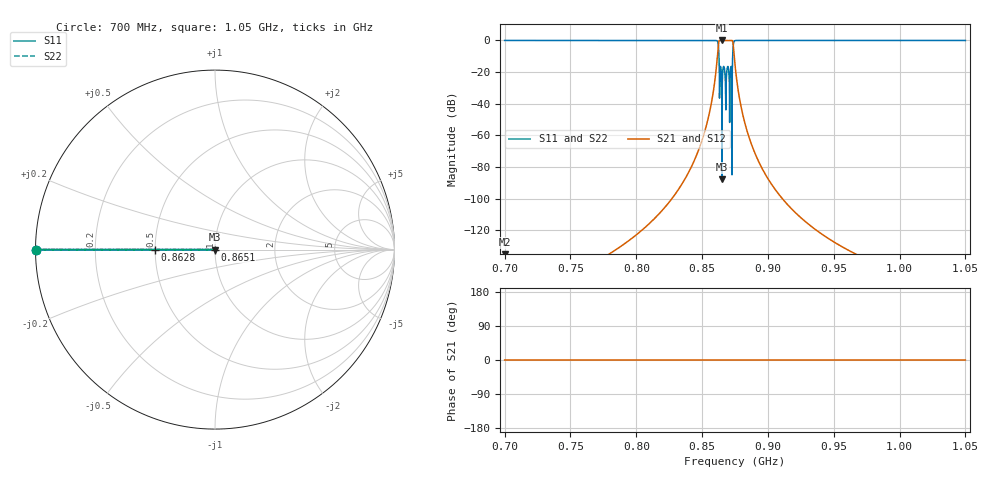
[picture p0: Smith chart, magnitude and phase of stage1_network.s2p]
! Created with skrf 1.12.0 (http://scikit-rf.org).
# Hz S RI R 50.0
!freq ReS11 ImS11 ReS21 ImS21 ReS12 ImS12 ReS22 ImS22
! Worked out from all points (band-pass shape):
!   4000 points, 700 MHz to 1.05 GHz, reference 50 ohm
!   highest |S21| = 0.00 dB at 865.1 MHz (marker M1); lowest = -165.3 dB at 700 MHz (marker M2)
!   |S21| within 3 dB of the highest: 862.3 MHz to 873.7 MHz (11.34 MHz wide, 1.31 % of centre)
!   lowest |S11| = -87.7 dB at 865.1 MHz (marker M3), VSWR 1.00, Z = 50 + j5.04e-19 ohm
!   |S11| at or under -10 dB: 862.8 MHz to 873.2 MHz (10.41 MHz wide, 1.2 % of centre)
!   |S22| runs from -87.7 to 0.0 dB; largest |S21 - S12| = 0
!   S11 on the Smith chart (normalised r, x): 700 MHz: -0.00, +0.00; 862.8 MHz: 0.50, +0.00; 865.1 MHz: 1.00, +0.00; 1.05 GHz: 0.00, +0.00
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7e8  -1 1.22e-16  5.43e-09 0  5.43e-09 0  -1 1.22e-16
7.583771e8  -1 1.22e-16  5.72e-08 0  5.72e-08 0  -1 1.22e-16
8.166667e8  -1 1.22e-16  3.11e-06 0  3.11e-06 0  -1 1.22e-16
8.431858e8  -1 1.22e-16  0.000133 0  0.000133 0  -1 1.22e-16
8.500125e8  -1 1.22e-16  0.000711 0  0.000711 0  -1 1.22e-16
8.552638e8  -1 1.22e-16  0.0045 0  0.0045 0  -1 1.22e-16
8.584146e8  -0.9997 1.22e-16  0.0224 0  0.0224 0  -0.9997 1.22e-16
8.607777e8  -0.9912 1.21e-16  0.1327 0  0.1327 0  -0.9912 1.21e-16
8.627907e8  -0.3364 4.12e-17  0.9417 0  0.9417 0  -0.3364 4.12e-17
8.639285e8  -0.1506 1.84e-17  0.9886 0  0.9886 0  -0.1506 1.84e-17
8.650663e8  -4.12e-05 5.04e-21  1 0  1 0  -4.12e-05 5.04e-21
8.665541e8  -0.1501 1.84e-17  0.9887 0  0.9887 0  -0.1501 1.84e-17
8.676919e8  -0.0463 5.67e-18  0.9989 0  0.9989 0  -0.0463 5.67e-18
8.714554e8  -0.0936 1.15e-17  0.9956 0  0.9956 0  -0.0936 1.15e-17
8.732058e8  -0.3058 3.74e-17  0.9521 0  0.9521 0  -0.3058 3.74e-17
8.750438e8  -0.986 1.21e-16  0.1666 0  0.1666 0  -0.986 1.21e-16
8.780195e8  -0.9998 1.22e-16  0.0185 0  0.0185 0  -0.9998 1.22e-16
8.82133e8  -1 1.22e-16  0.00279 0  0.00279 0  -1 1.22e-16
8.944736e8  -1 1.22e-16  0.000111 0  0.000111 0  -1 1.22e-16
9.333333e8  -1 1.22e-16  1.29e-06 0  1.29e-06 0  -1 1.22e-16
9.917104e8  -1 1.22e-16  6.11e-08 0  6.11e-08 0  -1 1.22e-16
1.05e9  -1 1.22e-16  1.01e-08 0  1.01e-08 0  -1 1.22e-16
